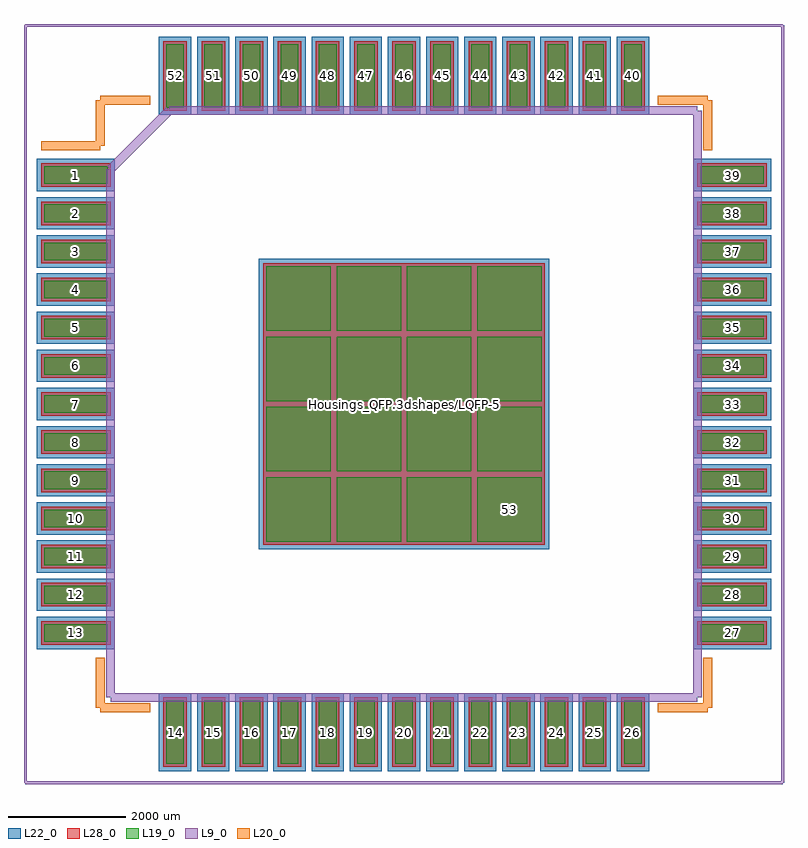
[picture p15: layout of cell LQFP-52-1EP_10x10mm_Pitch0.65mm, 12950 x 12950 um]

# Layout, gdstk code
import gdstk
lib = gdstk.Library(unit=1e-6, precision=1e-09)
def R(c, l, rs):  # rectangles x0, y0, x1, y1
    for r in rs: c.add(gdstk.rectangle(r[:2], r[2:], *l))
def A(c, l, x, y, w, h, nx, ny, dx, dy):  # array of equal rectangles
    R(c, l, [(x+i*dx, y+j*dy, x+i*dx+w, y+j*dy+h) for i in range(nx) for j in range(ny)])
L9_0 = (9, 0)
L19_0 = (19, 0)
L20_0 = (20, 0)
L22_0 = (22, 0)
L28_0 = (28, 0)

lqfp_52_1ep_10x10mm_pitc = lib.new_cell('LQFP-52-1EP_10x10mm_Pitch0.65mm')
A(lqfp_52_1ep_10x10mm_pitc, L19_0, -4050, -6130, 300, 1080, 13, 2, 650, 11180)
A(lqfp_52_1ep_10x10mm_pitc, L19_0, -6130, -4050, 1080, 300, 1, 13, 0, 650)
A(lqfp_52_1ep_10x10mm_pitc, L19_0, 5050, -4050, 1080, 300, 1, 13, 0, 650)
A(lqfp_52_1ep_10x10mm_pitc, L19_0, -2350, -2350, 1100, 1100, 4, 4, 1200, 1200)
A(lqfp_52_1ep_10x10mm_pitc, L22_0, -4175, -6255, 550, 1330, 13, 2, 650, 11180)
A(lqfp_52_1ep_10x10mm_pitc, L22_0, -6255, -4175, 1330, 550, 1, 13, 0, 650)
A(lqfp_52_1ep_10x10mm_pitc, L22_0, 4925, -4175, 1330, 550, 1, 13, 0, 650)
A(lqfp_52_1ep_10x10mm_pitc, L22_0, -2475, -2475, 1350, 1350, 4, 4, 1200, 1200)
A(lqfp_52_1ep_10x10mm_pitc, L28_0, -4100, -6180, 400, 1180, 13, 2, 650, 11180)
A(lqfp_52_1ep_10x10mm_pitc, L28_0, -6180, -4100, 1180, 400, 1, 13, 0, 650)
A(lqfp_52_1ep_10x10mm_pitc, L28_0, 5000, -4100, 1180, 400, 1, 13, 0, 650)
A(lqfp_52_1ep_10x10mm_pitc, L28_0, -2400, -2400, 1200, 1200, 4, 4, 1200, 1200)
lqfp_52_1ep_10x10mm_pitc.add(gdstk.FlexPath([(-5175,4400),(-6180,4400)], 149.998, ends="flush", simple_path=True, layer=20, datatype=0))  # L20_0
lqfp_52_1ep_10x10mm_pitc.add(gdstk.FlexPath([(5175,5175),(4325,5175)], 149.998, ends="flush", simple_path=True, layer=20, datatype=0))  # L20_0
lqfp_52_1ep_10x10mm_pitc.add(gdstk.FlexPath([(5175,-5175),(4325,-5175)], 149.998, ends="flush", simple_path=True, layer=20, datatype=0))  # L20_0
lqfp_52_1ep_10x10mm_pitc.add(gdstk.FlexPath([(-5175,-5175),(-4325,-5175)], 149.998, ends="flush", simple_path=True, layer=20, datatype=0))  # L20_0
lqfp_52_1ep_10x10mm_pitc.add(gdstk.FlexPath([(-5175,5175),(-4325,5175)], 149.998, ends="flush", simple_path=True, layer=20, datatype=0))  # L20_0
lqfp_52_1ep_10x10mm_pitc.add(gdstk.FlexPath([(-5175,-5175),(-5175,-4325)], 149.998, ends="flush", simple_path=True, layer=20, datatype=0))  # L20_0
lqfp_52_1ep_10x10mm_pitc.add(gdstk.FlexPath([(5175,-5175),(5175,-4325)], 149.998, ends="flush", simple_path=True, layer=20, datatype=0))  # L20_0
lqfp_52_1ep_10x10mm_pitc.add(gdstk.FlexPath([(5175,5175),(5175,4325)], 149.998, ends="flush", simple_path=True, layer=20, datatype=0))  # L20_0
lqfp_52_1ep_10x10mm_pitc.add(gdstk.FlexPath([(-5175,5175),(-5175,4400)], 149.998, ends="flush", simple_path=True, layer=20, datatype=0))  # L20_0
lqfp_52_1ep_10x10mm_pitc.add(gdstk.FlexPath([(-6450,-6450),(6450,-6450)], 50, ends="flush", simple_path=True, layer=9, datatype=0))  # L9_0
lqfp_52_1ep_10x10mm_pitc.add(gdstk.FlexPath([(-6450,6450),(6450,6450)], 50, ends="flush", simple_path=True, layer=9, datatype=0))  # L9_0
lqfp_52_1ep_10x10mm_pitc.add(gdstk.FlexPath([(6450,6450),(6450,-6450)], 50, ends="flush", simple_path=True, layer=9, datatype=0))  # L9_0
lqfp_52_1ep_10x10mm_pitc.add(gdstk.FlexPath([(-6450,6450),(-6450,-6450)], 50, ends="flush", simple_path=True, layer=9, datatype=0))  # L9_0
lqfp_52_1ep_10x10mm_pitc.add(gdstk.FlexPath([(-5000,4000),(-4000,5000)], 149.998, ends="flush", simple_path=True, layer=9, datatype=0))  # L9_0
lqfp_52_1ep_10x10mm_pitc.add(gdstk.FlexPath([(-5000,-5000),(-5000,4000)], 149.998, ends="flush", simple_path=True, layer=9, datatype=0))  # L9_0
lqfp_52_1ep_10x10mm_pitc.add(gdstk.FlexPath([(5000,-5000),(-5000,-5000)], 149.998, ends="flush", simple_path=True, layer=9, datatype=0))  # L9_0
lqfp_52_1ep_10x10mm_pitc.add(gdstk.FlexPath([(5000,5000),(5000,-5000)], 149.998, ends="flush", simple_path=True, layer=9, datatype=0))  # L9_0
lqfp_52_1ep_10x10mm_pitc.add(gdstk.FlexPath([(-4000,5000),(5000,5000)], 149.998, ends="flush", simple_path=True, layer=9, datatype=0))  # L9_0
lqfp_52_1ep_10x10mm_pitc.add(gdstk.Label('Housings_QFP.3dshapes/LQFP-52-1EP_10x10mm_Pitch0.65mm.wrl', (0,0), layer=12, texttype=0))
lqfp_52_1ep_10x10mm_pitc.add(gdstk.Label('53', (1800,-1800), layer=28, texttype=0))
lqfp_52_1ep_10x10mm_pitc.add(gdstk.Label('52', (-3900,5590), layer=28, texttype=0))
lqfp_52_1ep_10x10mm_pitc.add(gdstk.Label('51', (-3250,5590), layer=28, texttype=0))
lqfp_52_1ep_10x10mm_pitc.add(gdstk.Label('50', (-2600,5590), layer=28, texttype=0))
lqfp_52_1ep_10x10mm_pitc.add(gdstk.Label('49', (-1950,5590), layer=28, texttype=0))
lqfp_52_1ep_10x10mm_pitc.add(gdstk.Label('48', (-1300,5590), layer=28, texttype=0))
lqfp_52_1ep_10x10mm_pitc.add(gdstk.Label('47', (-650,5590), layer=28, texttype=0))
lqfp_52_1ep_10x10mm_pitc.add(gdstk.Label('46', (0,5590), layer=28, texttype=0))
lqfp_52_1ep_10x10mm_pitc.add(gdstk.Label('45', (650,5590), layer=28, texttype=0))
lqfp_52_1ep_10x10mm_pitc.add(gdstk.Label('44', (1300,5590), layer=28, texttype=0))
lqfp_52_1ep_10x10mm_pitc.add(gdstk.Label('43', (1950,5590), layer=28, texttype=0))
lqfp_52_1ep_10x10mm_pitc.add(gdstk.Label('42', (2600,5590), layer=28, texttype=0))
lqfp_52_1ep_10x10mm_pitc.add(gdstk.Label('41', (3250,5590), layer=28, texttype=0))
lqfp_52_1ep_10x10mm_pitc.add(gdstk.Label('40', (3900,5590), layer=28, texttype=0))
lqfp_52_1ep_10x10mm_pitc.add(gdstk.Label('39', (5590,3900), layer=28, texttype=0))
lqfp_52_1ep_10x10mm_pitc.add(gdstk.Label('38', (5590,3250), layer=28, texttype=0))
lqfp_52_1ep_10x10mm_pitc.add(gdstk.Label('37', (5590,2600), layer=28, texttype=0))
lqfp_52_1ep_10x10mm_pitc.add(gdstk.Label('36', (5590,1950), layer=28, texttype=0))
lqfp_52_1ep_10x10mm_pitc.add(gdstk.Label('35', (5590,1300), layer=28, texttype=0))
lqfp_52_1ep_10x10mm_pitc.add(gdstk.Label('34', (5590,650), layer=28, texttype=0))
lqfp_52_1ep_10x10mm_pitc.add(gdstk.Label('33', (5590,0), layer=28, texttype=0))
lqfp_52_1ep_10x10mm_pitc.add(gdstk.Label('32', (5590,-650), layer=28, texttype=0))
lqfp_52_1ep_10x10mm_pitc.add(gdstk.Label('31', (5590,-1300), layer=28, texttype=0))
lqfp_52_1ep_10x10mm_pitc.add(gdstk.Label('30', (5590,-1950), layer=28, texttype=0))
lqfp_52_1ep_10x10mm_pitc.add(gdstk.Label('29', (5590,-2600), layer=28, texttype=0))
lqfp_52_1ep_10x10mm_pitc.add(gdstk.Label('28', (5590,-3250), layer=28, texttype=0))
lqfp_52_1ep_10x10mm_pitc.add(gdstk.Label('27', (5590,-3900), layer=28, texttype=0))
lqfp_52_1ep_10x10mm_pitc.add(gdstk.Label('26', (3900,-5590), layer=28, texttype=0))
lqfp_52_1ep_10x10mm_pitc.add(gdstk.Label('25', (3250,-5590), layer=28, texttype=0))
lqfp_52_1ep_10x10mm_pitc.add(gdstk.Label('24', (2600,-5590), layer=28, texttype=0))
lqfp_52_1ep_10x10mm_pitc.add(gdstk.Label('23', (1950,-5590), layer=28, texttype=0))
lqfp_52_1ep_10x10mm_pitc.add(gdstk.Label('22', (1300,-5590), layer=28, texttype=0))
lqfp_52_1ep_10x10mm_pitc.add(gdstk.Label('21', (650,-5590), layer=28, texttype=0))
lqfp_52_1ep_10x10mm_pitc.add(gdstk.Label('20', (0,-5590), layer=28, texttype=0))
lqfp_52_1ep_10x10mm_pitc.add(gdstk.Label('19', (-650,-5590), layer=28, texttype=0))
lqfp_52_1ep_10x10mm_pitc.add(gdstk.Label('18', (-1300,-5590), layer=28, texttype=0))
lqfp_52_1ep_10x10mm_pitc.add(gdstk.Label('17', (-1950,-5590), layer=28, texttype=0))
lqfp_52_1ep_10x10mm_pitc.add(gdstk.Label('16', (-2600,-5590), layer=28, texttype=0))
lqfp_52_1ep_10x10mm_pitc.add(gdstk.Label('15', (-3250,-5590), layer=28, texttype=0))
lqfp_52_1ep_10x10mm_pitc.add(gdstk.Label('14', (-3900,-5590), layer=28, texttype=0))
lqfp_52_1ep_10x10mm_pitc.add(gdstk.Label('13', (-5590,-3900), layer=28, texttype=0))
lqfp_52_1ep_10x10mm_pitc.add(gdstk.Label('12', (-5590,-3250), layer=28, texttype=0))
lqfp_52_1ep_10x10mm_pitc.add(gdstk.Label('11', (-5590,-2600), layer=28, texttype=0))
lqfp_52_1ep_10x10mm_pitc.add(gdstk.Label('10', (-5590,-1950), layer=28, texttype=0))
lqfp_52_1ep_10x10mm_pitc.add(gdstk.Label('9', (-5590,-1300), layer=28, texttype=0))
lqfp_52_1ep_10x10mm_pitc.add(gdstk.Label('8', (-5590,-650), layer=28, texttype=0))
lqfp_52_1ep_10x10mm_pitc.add(gdstk.Label('7', (-5590,0), layer=28, texttype=0))
lqfp_52_1ep_10x10mm_pitc.add(gdstk.Label('6', (-5590,650), layer=28, texttype=0))
lqfp_52_1ep_10x10mm_pitc.add(gdstk.Label('5', (-5590,1300), layer=28, texttype=0))
lqfp_52_1ep_10x10mm_pitc.add(gdstk.Label('4', (-5590,1950), layer=28, texttype=0))
lqfp_52_1ep_10x10mm_pitc.add(gdstk.Label('3', (-5590,2600), layer=28, texttype=0))
lqfp_52_1ep_10x10mm_pitc.add(gdstk.Label('2', (-5590,3250), layer=28, texttype=0))
lqfp_52_1ep_10x10mm_pitc.add(gdstk.Label('1', (-5590,3900), layer=28, texttype=0))
lqfp_52_1ep_10x10mm_pitc.add(gdstk.Label('%R', (0,0), layer=9, texttype=0))
lqfp_52_1ep_10x10mm_pitc.add(gdstk.Label('type', (0,-7180), layer=9, texttype=0))
lqfp_52_1ep_10x10mm_pitc.add(gdstk.Label('devicename', (0,7180), layer=9, texttype=0))

lib.write_gds('LQFP-52-1EP_10x10mm_Pitch0.65mm.gds')
